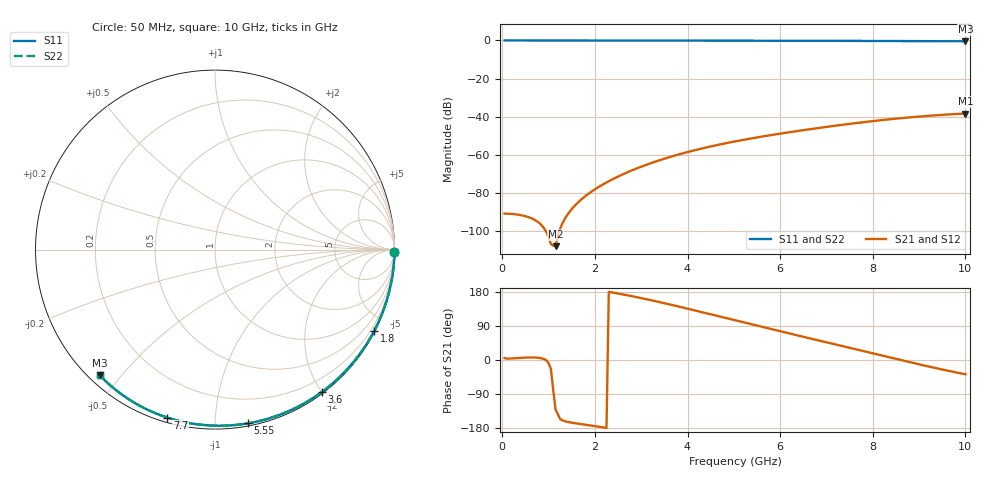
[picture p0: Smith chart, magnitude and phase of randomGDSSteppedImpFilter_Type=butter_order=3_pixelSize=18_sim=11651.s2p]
! freq	dB(S11)	phase(S11)	dB(S12)	phase(S12)
!  dB(S21)	phase(S21)	dB(S22)	phase(S22)
!S-par simulation data
#  GHz  S  DB  R 50
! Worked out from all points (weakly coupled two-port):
!   200 points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, 50 MHz to 10 GHz, reference 50 ohm
!   highest |S21| = -38.38 dB at 10 GHz (marker M1); lowest = -108.1 dB at 1.15 GHz (marker M2)
!   lowest |S11| = -0.4 dB at 10 GHz (marker M3), VSWR 39.09, Z = 1.53 - j21.9 ohm
!   |S11| at or under -10 dB: nowhere
!   |S22| runs from -0.4 to 0.0 dB; largest |S21 - S12| = 0
!   S11 on the Smith chart (normalised r, x): 50 MHz: open; 1.8 GHz: 0.04, -4.14; 3.6 GHz: 0.02, -2.00; 5.55 GHz: 0.02, -1.21; 7.7 GHz: 0.02, -0.75; 10 GHz: 0.03, -0.44
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0.05  -0.00 -0.8  -90.97 5.2  -90.97 5.2  -0.00 -0.8
0.6  -0.01 -9.2  -93.11 6.7  -93.11 6.7  -0.01 -9.2
1.15  -0.02 -17.5  -108.07 -130.7  -108.07 -130.7  -0.02 -17.5
1.75  -0.03 -26.4  -82.63 -170.0  -82.63 -170.0  -0.03 -26.4
1.8  -0.03 -27.2  -81.66 -170.9  -81.66 -170.9  -0.03 -27.2
1.9  -0.04 -28.6  -79.86 -172.6  -79.86 -172.6  -0.04 -28.6
2.05  -0.04 -30.8  -77.43 -175.4  -77.43 -175.4  -0.04 -30.8
2.25  -0.04 -33.8  -74.58 -179.3  -74.58 -179.3  -0.04 -33.8
2.65  -0.05 -39.6  -69.80 172.0  -69.80 172.0  -0.05 -39.6
3  -0.06 -44.6  -66.31 163.4  -66.31 163.4  -0.06 -44.6
3.4  -0.07 -50.3  -62.89 152.7  -62.89 152.7  -0.07 -50.3
3.6  -0.07 -53.1  -61.36 147.1  -61.36 147.1  -0.07 -53.1
3.9  -0.08 -57.3  -59.27 138.4  -59.27 138.4  -0.08 -57.3
4.3  -0.09 -62.7  -56.80 126.5  -56.80 126.5  -0.09 -62.7
5.05  -0.11 -72.8  -52.93 104.0  -52.93 104.0  -0.11 -72.8
5.55  -0.13 -79.3  -50.74 89.1  -50.74 89.1  -0.13 -79.3
6.1  -0.15 -86.3  -48.57 72.9  -48.57 72.9  -0.15 -86.3
6.7  -0.18 -93.8  -46.42 55.4  -46.42 55.4  -0.18 -93.8
7.7  -0.24 -105.9  -43.22 26.2  -43.22 26.2  -0.24 -105.9
8.35  -0.29 -113.6  -41.44 7.2  -41.44 7.2  -0.29 -113.6
9.15  -0.36 -122.8  -39.68 -15.6  -39.68 -15.6  -0.36 -122.9
10  -0.44 -132.6  -38.38 -37.6  -38.38 -37.6  -0.44 -132.6
